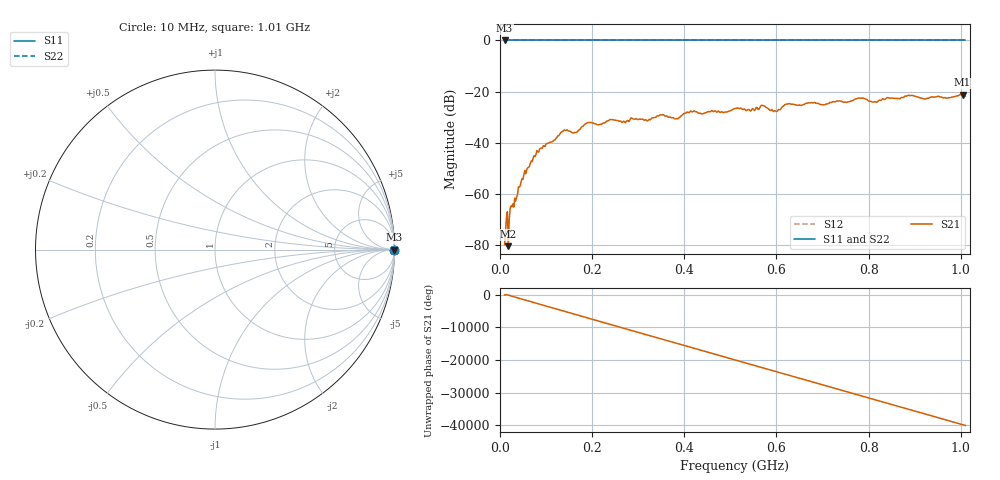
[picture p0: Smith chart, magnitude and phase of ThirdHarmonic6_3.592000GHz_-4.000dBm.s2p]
! 8/17/2025 11:57:13 AM
! C:\ANRITSUVNA\TEMP\TEMP.S2P
! CHANNEL.1
! TR.MEASUREMENT
! RAW.DATA
! RF.CORRECTION.OFF
! AVERAGING.OFF
! IF.BANDWIDTH: 5KHZ
! SWEEPTYPE:  FREQ.SWEEP(Linear)
! Reference Plane Port Info
! PORT:  PORT1  PORT2
! DISTANCE:  0  m  0  m
! TIME:  0  s  0  s
! PHASE.OFFSET:  0  deg.  0  deg.
! LOSS:  0  dB  0  dB
! REF.LOSS:  0  dB  0  dB
! REF.FREQ:  0  Hz  0  Hz
! Power Info
! POWER:  -20  dBm  -20  dBm
! EFF.POWER:  -20  dBm  -20  dBm
! SOURCE.ATTEN:  0  dB  0  dB
! TEST.ATTEN:  0  dB  0  dB
# GHZ S RI R 50.0
! FREQ.GHZ  S11RE  S11IM  S21RE  S21IM  S12RE  S12IM  S22RE  S22IM
!; PortSelection: Port_12
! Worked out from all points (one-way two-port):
!   501 points, 10 MHz to 1.01 GHz, reference 50 ohm
!   highest |S21| = -21.19 dB at 1.004 GHz (marker M1); lowest = -80.5 dB at 18 MHz (marker M2)
!   lowest |S11| = 0.0 dB at 10 MHz (marker M3)
!   |S11| at or under -10 dB: nowhere
!   |S22| runs from 0.0 to 0.0 dB; largest |S21 - S12| = 1.1
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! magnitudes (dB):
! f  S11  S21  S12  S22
! 10 MHz  0.0  -80.0  0.0  0.0
! 18 MHz  0.0  -80.5  0.0  0.0
! 22 MHz  0.0  -65.9  0.0  0.0
! 24 MHz  0.0  -64.8  0.0  0.0
! 50 MHz  0.0  -54.3  0.0  0.0
! 84 MHz  0.0  -43.7  0.0  0.0
! 136 MHz  0.0  -35.7  0.0  0.0
! 162 MHz  0.0  -36.0  0.0  0.0
! 178 MHz  0.0  -33.7  0.0  0.0
! 194 MHz  0.0  -32.1  0.0  0.0
! 322 MHz  0.0  -31.2  0.0  0.0
! 344 MHz  0.0  -29.6  0.0  0.0
! 384 MHz  0.0  -30.5  0.0  0.0
! 418 MHz  0.0  -28.0  0.0  0.0
! 510 MHz  0.0  -26.6  0.0  0.0
! 570 MHz  0.0  -25.4  0.0  0.0
! 598 MHz  0.0  -27.6  0.0  0.0
! 622 MHz  0.0  -24.9  0.0  0.0
! 678 MHz  0.0  -24.4  0.0  0.0
! 844 MHz  0.0  -22.5  0.0  0.0
! 1.004 GHz  0.0  -21.2  0.0  0.0
! 1.01 GHz  0.0  -21.8  0.0  0.0
